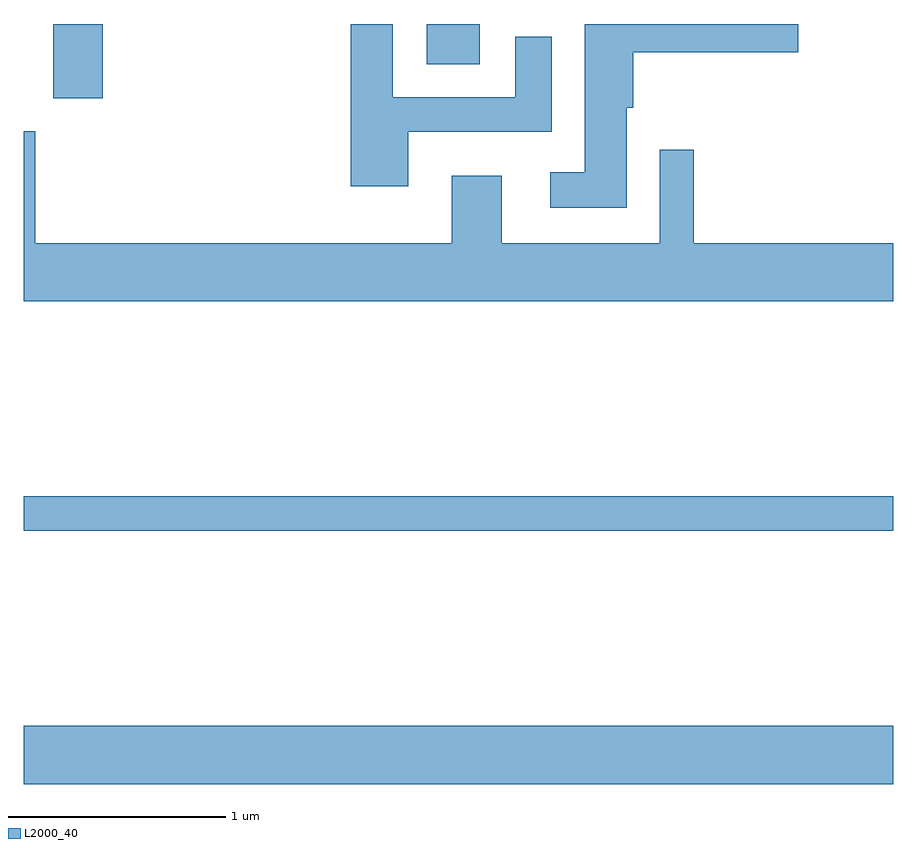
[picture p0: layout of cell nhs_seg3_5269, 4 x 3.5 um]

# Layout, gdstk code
import gdstk
lib = gdstk.Library(unit=1e-6, precision=1e-09)
def R(c, l, rs):  # rectangles x0, y0, x1, y1
    for r in rs: c.add(gdstk.rectangle(r[:2], r[2:], *l))
def P(c, l, *ps):  # polygons
    for p in ps: c.add(gdstk.Polygon(p, *l))
L2000_40 = (2000, 40)

nhs_seg3_5269 = lib.new_cell('nhs_seg3_5269')
R(nhs_seg3_5269, L2000_40, [(339.611,1190.396,343.611,1190.664), (339.611,1191.561,343.611,1191.719), (339.746,1193.551,339.974,1193.892), (341.466,1193.706,341.709,1193.892)])
P(nhs_seg3_5269, L2000_40, [(341.379,1193.396),(342.039,1193.396),(342.039,1193.833),(341.871,1193.833),(341.871,1193.554),(341.309,1193.554),(341.309,1193.892),(341.116,1193.892),(341.116,1193.146),(341.379,1193.146)],
  [(342.384,1193.506),(342.414,1193.506),(342.414,1193.761),(343.174,1193.761),(343.174,1193.892),(342.191,1193.892),(342.191,1193.209),(342.033,1193.209),(342.033,1193.046),(342.384,1193.046)],
  [(343.611,1192.884),(342.694,1192.884),(342.694,1193.313),(342.536,1193.313),(342.536,1192.884),(341.809,1192.884),(341.809,1193.194),(341.581,1193.194),(341.581,1192.884),(339.664,1192.884),(339.664,1193.399),(339.611,1193.399),(339.611,1192.616),(343.611,1192.616)])

lib.write_gds('nhs_seg3_5269.gds')
